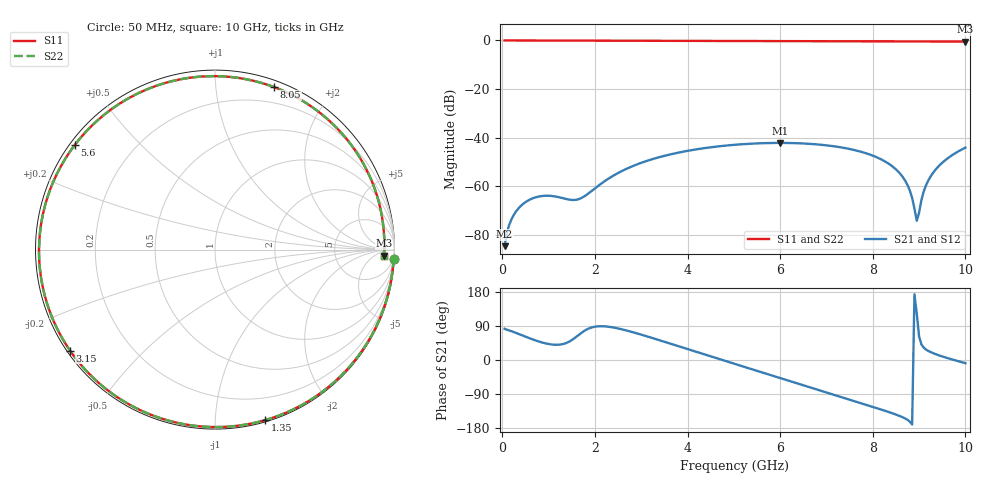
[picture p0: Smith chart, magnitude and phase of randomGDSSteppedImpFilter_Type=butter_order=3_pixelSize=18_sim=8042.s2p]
! freq	dB(S11)	phase(S11)	dB(S12)	phase(S12)
!  dB(S21)	phase(S21)	dB(S22)	phase(S22)
!S-par simulation data
#  GHz  S  DB  R 50
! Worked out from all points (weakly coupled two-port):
!   200 points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, 50 MHz to 10 GHz, reference 50 ohm
!   highest |S21| = -42.14 dB at 6 GHz (marker M1); lowest = -84.6 dB at 50 MHz (marker M2)
!   lowest |S11| = -0.5 dB at 10 GHz (marker M3), VSWR 33.30, Z = 1.22e+03 - j734 ohm
!   |S11| at or under -10 dB: nowhere
!   |S22| runs from -0.5 to 0.0 dB; largest |S21 - S12| = 0
!   S11 on the Smith chart (normalised r, x): 50 MHz: 3, -39; 1.35 GHz: 0.01, -1.34; 3.15 GHz: 0.01, -0.31; 5.6 GHz: 0.01, +0.33; 8.05 GHz: 0.06, +1.42; 10 GHz: 24, -15
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0.05  -0.03 -2.9  -84.56 82.4  -84.56 82.4  -0.03 -2.9
0.3  -0.04 -17.4  -70.21 71.3  -70.21 71.3  -0.04 -17.4
0.55  -0.05 -31.6  -65.88 59.2  -65.88 59.2  -0.05 -31.6
1.35  -0.08 -73.6  -65.03 43.5  -65.03 43.5  -0.08 -73.6
1.75  -0.10 -92.1  -64.34 75.3  -64.34 75.3  -0.10 -92.1
2.45  -0.12 -120.6  -55.02 84.6  -55.02 84.6  -0.12 -120.6
3.15  -0.14 -145.2  -49.34 61.4  -49.34 61.4  -0.14 -145.2
3.4  -0.14 -153.2  -47.94 52.0  -47.94 52.0  -0.14 -153.2
4.2  -0.17 -177.4  -44.75 21.2  -44.75 21.2  -0.17 -177.4
5.05  -0.20 158.5  -42.85 -11.4  -42.85 -11.4  -0.20 158.5
5.6  -0.22 143.2  -42.26 -32.3  -42.26 -32.3  -0.22 143.2
6  -0.24 132.0  -42.14 -47.5  -42.14 -47.5  -0.24 132.0
6.7  -0.27 111.9  -42.60 -74.0  -42.60 -74.0  -0.27 111.9
8.05  -0.32 70.1  -47.75 -125.5  -47.75 -125.5  -0.32 70.0
8.35  -0.34 60.0  -50.76 -137.5  -50.76 -137.5  -0.34 60.0
8.75  -0.36 46.1  -59.44 -157.9  -59.44 -157.9  -0.36 46.1
8.85  -0.37 42.5  -64.72 -170.2  -64.72 -170.2  -0.37 42.5
8.95  -0.38 38.9  -74.10 122.9  -74.10 122.9  -0.38 38.9
9.1  -0.39 33.4  -62.12 32.8  -62.12 32.8  -0.39 33.4
9.25  -0.40 27.8  -55.89 20.8  -55.89 20.8  -0.40 27.7
9.55  -0.44 16.2  -49.47 7.5  -49.47 7.5  -0.44 16.2
10  -0.52 -2.1  -44.06 -8.4  -44.06 -8.4  -0.52 -2.1
